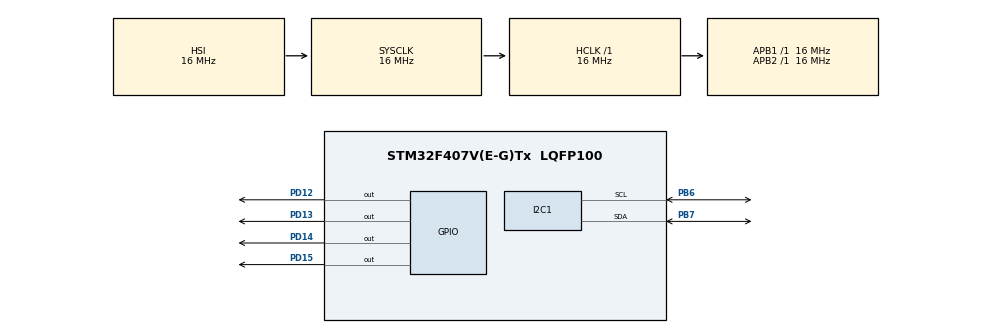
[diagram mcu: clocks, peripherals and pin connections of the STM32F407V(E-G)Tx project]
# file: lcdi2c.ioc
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Dma.I2C1_RX.0.Direction=DMA_PERIPH_TO_MEMORY
Dma.I2C1_RX.0.FIFOMode=DMA_FIFOMODE_DISABLE
Dma.I2C1_RX.0.Instance=DMA1_Stream0
Dma.I2C1_RX.0.MemDataAlignment=DMA_MDATAALIGN_BYTE
Dma.I2C1_RX.0.MemInc=DMA_MINC_ENABLE
Dma.I2C1_RX.0.Mode=DMA_NORMAL
Dma.I2C1_RX.0.PeriphDataAlignment=DMA_PDATAALIGN_BYTE
Dma.I2C1_RX.0.PeriphInc=DMA_PINC_DISABLE
Dma.I2C1_RX.0.Priority=DMA_PRIORITY_LOW
Dma.I2C1_TX.1.Direction=DMA_MEMORY_TO_PERIPH
Dma.I2C1_TX.1.FIFOMode=DMA_FIFOMODE_DISABLE
Dma.I2C1_TX.1.Instance=DMA1_Stream6
Dma.I2C1_TX.1.MemDataAlignment=DMA_MDATAALIGN_BYTE
Dma.I2C1_TX.1.MemInc=DMA_MINC_ENABLE
Dma.I2C1_TX.1.Mode=DMA_NORMAL
Dma.I2C1_TX.1.PeriphDataAlignment=DMA_PDATAALIGN_BYTE
Dma.I2C1_TX.1.PeriphInc=DMA_PINC_DISABLE
Dma.I2C1_TX.1.Priority=DMA_PRIORITY_LOW
Dma.Request0=I2C1_RX
Dma.Request1=I2C1_TX
FREERTOS.Tasks01=defaultTask,24,128,StartDefaultTask,Default,NULL,Dynamic,NULL,NULL
FREERTOS.configENABLE_FPU=1
Mcu.Family=STM32F4
Mcu.Name=STM32F407V(E-G)Tx
Mcu.Package=LQFP100
NVIC.DMA1_Stream0_IRQn=true\:5\:0\:false\:false\:true\:true\:false\:true
NVIC.DMA1_Stream6_IRQn=true\:5\:0\:false\:false\:true\:true\:false\:true
NVIC.I2C1_ER_IRQn=true\:5\:0\:false\:false\:true\:true\:true\:true
NVIC.I2C1_EV_IRQn=true\:5\:0\:false\:false\:true\:true\:true\:true
NVIC.PriorityGroup=NVIC_PRIORITYGROUP_4
NVIC.TIM5_IRQn=true\:0\:0\:false\:false\:true\:false\:false\:true
NVIC.TimeBase=TIM5_IRQn
NVIC.TimeBaseIP=TIM5
PA13.Mode=Serial_Wire
PA13.Signal=SYS_JTMS-SWDIO
PA14.Mode=Serial_Wire
PA14.Signal=SYS_JTCK-SWCLK
PB6.Mode=I2C
PB6.Signal=I2C1_SCL
PB7.Mode=I2C
PB7.Signal=I2C1_SDA
PD12.Signal=GPIO_Output
PD13.Signal=GPIO_Output
PD14.Signal=GPIO_Output
PD15.Signal=GPIO_Output
PH0-OSC_IN.Mode=HSE-External-Oscillator
PH0-OSC_IN.Signal=RCC_OSC_IN
PH1-OSC_OUT.Mode=HSE-External-Oscillator
PH1-OSC_OUT.Signal=RCC_OSC_OUT
ProjectManager.HeapSize=0x200
ProjectManager.StackSize=0x400
ProjectManager.TargetToolchain=Makefile
RCC.AHBFreq_Value=16000000
RCC.APB1Freq_Value=16000000
RCC.APB2Freq_Value=16000000
RCC.CortexFreq_Value=16000000
RCC.HSE_VALUE=25000000
RCC.HSI_VALUE=16000000
RCC.LSE_VALUE=32768
RCC.SYSCLKFreq_VALUE=16000000
RCC.VCOOutputFreq_Value=192000000
VP_FREERTOS_VS_CMSIS_V2.Mode=CMSIS_V2
VP_SYS_VS_tim5.Mode=TIM5
board=custom

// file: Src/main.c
/* USER CODE BEGIN Header */
/**
  ******************************************************************************
  * @file           : main.c
  * @brief          : Main program body
  ******************************************************************************
  * @attention
  *
  * <h2><center>&copy; Copyright (c) 2020 STMicroelectronics.
  * All rights reserved.</center></h2>
  *
  * This software component is licensed by ST under Ultimate Liberty license
  * SLA0044, the "License"; You may not use this file except in compliance with
  * the License. You may obtain a copy of the License at:
  *                             www.st.com/SLA0044
  *
  ******************************************************************************
  */
/* USER CODE END Header */

#include "main.h"
#include "cmsis_os.h"

/* USER CODE BEGIN Includes */
#include "LcdTask.h"
#include "lcd_hd44780_i2c.h"
#include "morse.h"
#include "DTW_counter.h"
/* USER CODE END Includes */

I2C_HandleTypeDef hi2c1;
DMA_HandleTypeDef hdma_i2c1_rx;
DMA_HandleTypeDef hdma_i2c1_tx;

/* Definitions for defaultTask */
osThreadId_t defaultTaskHandle;
const osThreadAttr_t defaultTask_attributes = {
  .name = "defaultTask",
  .priority = (osPriority_t) osPriorityNormal,
  .stack_size = 256 * 4
};
/* USER CODE BEGIN PV */
struct LCDI2C_UNIT* plcd4x20;
struct LCDI2C_UNIT* plcd4x16;
struct LCDI2C_UNIT* plcd2x16;
/* USER CODE END PV */

void SystemClock_Config(void);
static void MX_GPIO_Init(void);
static void MX_DMA_Init(void);
static void MX_I2C1_Init(void);
void StartDefaultTask(void *argument);

int main(void)
{

  /* MCU Configuration--------------------------------------------------------*/

  /* Reset of all peripherals, Initializes the Flash interface and the Systick. */
  HAL_Init();

  /* Configure the system clock */
  SystemClock_Config();

  /* USER CODE BEGIN SysInit */
  DTW_counter_init();

  /* USER CODE END SysInit */

  /* Initialize all configured peripherals */
  MX_GPIO_Init();
  MX_DMA_Init();
  MX_I2C1_Init();

  /* Init scheduler */
  osKernelInitialize();

  /* Create the thread(s) */
  /* creation of defaultTask */
  defaultTaskHandle = osThreadNew(StartDefaultTask, NULL, &defaultTask_attributes);

  /* USER CODE BEGIN RTOS_THREADS */

  /* LCD task */
  osThreadId osRet;
  // Arguments: (priority, queue (LcdTaskQHandle) size for control block ptrs)
//  osRet = xLcdTaskCreate(0, 32);
  if (osRet == NULL) morse_trap(119);
#ifdef DONOTDOTHIS

  /* Instantiate each LCD unit with I2C, address, row, column */
  plcd4x20 = xLcdTaskcreateunit(&hi2c1,0x27,4,20);
  if (plcd4x20 == NULL) morse_trap(227);

  plcd4x16 = xLcdTaskcreateunit(&hi2c1,0x26,4,16);
  if (plcd4x16 == NULL) morse_trap(226);

  plcd2x16 = xLcdTaskcreateunit(&hi2c1,0x25,2,16);
  if (plcd2x16 == NULL) morse_trap(225);
#endif

  /* USER CODE END RTOS_THREADS */
while(1==1);
  /* Start scheduler */
  osKernelStart();

  /* We should never get here as control is now taken by the scheduler */
  /* Infinite loop */
  while (1)
  {

  }
}

void SystemClock_Config(void)
{
  RCC_OscInitTypeDef RCC_OscInitStruct = {0};
  RCC_ClkInitTypeDef RCC_ClkInitStruct = {0};

  /** Configure the main internal regulator output voltage
  */
  __HAL_RCC_PWR_CLK_ENABLE();
  __HAL_PWR_VOLTAGESCALING_CONFIG(PWR_REGULATOR_VOLTAGE_SCALE1);
  /** Initializes the CPU, AHB and APB busses clocks
  */
  RCC_OscInitStruct.OscillatorType = RCC_OSCILLATORTYPE_HSI;
  RCC_OscInitStruct.HSIState = RCC_HSI_ON;
  RCC_OscInitStruct.HSICalibrationValue = RCC_HSICALIBRATION_DEFAULT;
  RCC_OscInitStruct.PLL.PLLState = RCC_PLL_NONE;
  if (HAL_RCC_OscConfig(&RCC_OscInitStruct) != HAL_OK)
  {
    Error_Handler();
  }
  /** Initializes the CPU, AHB and APB busses clocks
  */
  RCC_ClkInitStruct.ClockType = RCC_CLOCKTYPE_HCLK|RCC_CLOCKTYPE_SYSCLK
                              |RCC_CLOCKTYPE_PCLK1|RCC_CLOCKTYPE_PCLK2;
  RCC_ClkInitStruct.SYSCLKSource = RCC_SYSCLKSOURCE_HSI;
  RCC_ClkInitStruct.AHBCLKDivider = RCC_SYSCLK_DIV1;
  RCC_ClkInitStruct.APB1CLKDivider = RCC_HCLK_DIV1;
  RCC_ClkInitStruct.APB2CLKDivider = RCC_HCLK_DIV1;

  if (HAL_RCC_ClockConfig(&RCC_ClkInitStruct, FLASH_LATENCY_0) != HAL_OK)
  {
    Error_Handler();
  }
}

static void MX_I2C1_Init(void)
{

  hi2c1.Instance = I2C1;
  hi2c1.Init.ClockSpeed = 100000;
  hi2c1.Init.DutyCycle = I2C_DUTYCYCLE_2;
  hi2c1.Init.OwnAddress1 = 0;
  hi2c1.Init.AddressingMode = I2C_ADDRESSINGMODE_7BIT;
  hi2c1.Init.DualAddressMode = I2C_DUALADDRESS_DISABLE;
  hi2c1.Init.OwnAddress2 = 0;
  hi2c1.Init.GeneralCallMode = I2C_GENERALCALL_DISABLE;
  hi2c1.Init.NoStretchMode = I2C_NOSTRETCH_DISABLE;
  if (HAL_I2C_Init(&hi2c1) != HAL_OK)
  {
    Error_Handler();
  }

}

static void MX_DMA_Init(void)
{

  /* DMA controller clock enable */
  __HAL_RCC_DMA1_CLK_ENABLE();

  /* DMA interrupt init */
  /* DMA1_Stream0_IRQn interrupt configuration */
  HAL_NVIC_SetPriority(DMA1_Stream0_IRQn, 5, 0);
  HAL_NVIC_EnableIRQ(DMA1_Stream0_IRQn);
  /* DMA1_Stream6_IRQn interrupt configuration */
  HAL_NVIC_SetPriority(DMA1_Stream6_IRQn, 5, 0);
  HAL_NVIC_EnableIRQ(DMA1_Stream6_IRQn);

}

static void MX_GPIO_Init(void)
{
  GPIO_InitTypeDef GPIO_InitStruct = {0};

  /* GPIO Ports Clock Enable */
  __HAL_RCC_GPIOH_CLK_ENABLE();
  __HAL_RCC_GPIOD_CLK_ENABLE();
  __HAL_RCC_GPIOA_CLK_ENABLE();
  __HAL_RCC_GPIOB_CLK_ENABLE();

  /*Configure GPIO pin Output Level */
  HAL_GPIO_WritePin(GPIOD, GPIO_PIN_12|GPIO_PIN_13|GPIO_PIN_14|GPIO_PIN_15, GPIO_PIN_RESET);

  /*Configure GPIO pins : PD12 PD13 PD14 PD15 */
  GPIO_InitStruct.Pin = GPIO_PIN_12|GPIO_PIN_13|GPIO_PIN_14|GPIO_PIN_15;
  GPIO_InitStruct.Mode = GPIO_MODE_OUTPUT_PP;
  GPIO_InitStruct.Pull = GPIO_NOPULL;
  GPIO_InitStruct.Speed = GPIO_SPEED_FREQ_LOW;
  HAL_GPIO_Init(GPIOD, &GPIO_InitStruct);

}

void StartDefaultTask(void *argument)
{
  /* USER CODE BEGIN 5 */
while(1==1) osDelay(10);

  /* Get two line buffers 'a' and 'b' for 4x20 LCD. */
  struct LCDTASK_LINEBUF* pbuf4x20a = xLcdTaskintgetbuf(plcd4x20);
  struct LCDTASK_LINEBUF* pbuf4x20b = xLcdTaskintgetbuf(plcd4x20);
  struct LCDTASK_LINEBUF* pbuf4x20c = xLcdTaskintgetbuf(plcd4x20);
  struct LCDTASK_LINEBUF* pbuf4x20d = xLcdTaskintgetbuf(plcd4x20);
  if (pbuf4x20a == NULL) morse_trap(240);
  if (pbuf4x20b == NULL) morse_trap(241);
  if (pbuf4x20c == NULL) morse_trap(242);
  if (pbuf4x20d == NULL) morse_trap(243);

    // Set cursor and print at zero position of line 1
    lcdi2cputs(&pbuf4x20a,0,0,"1 Hello,");

    // Set cursor and print at zero position of line 2
    lcdi2cputs(&pbuf4x20b,0,1,"2 This is a test!");

    // Set cursor and print at zero position of line 3
    lcdi2cputs(&pbuf4x20c,0,2,"3 lcdic2X2 ");

    // Set cursor and print at zero position of line 3
    lcdi2cputs(&pbuf4x20d,0,3,"4 abcdefghijklmnopqr");

    for (;;) {
		HAL_GPIO_TogglePin(GPIOD,GPIO_PIN_15); // BLUE LED
      vTaskDelay(512);

    }
  /* USER CODE END 5 */
}

 /**
  * @brief  Period elapsed callback in non blocking mode
  * @note   This function is called  when TIM5 interrupt took place, inside
  * HAL_TIM_IRQHandler(). It makes a direct call to HAL_IncTick() to increment
  * a global variable "uwTick" used as application time base.
  * @param  htim : TIM handle
  * @retval None
  */
void HAL_TIM_PeriodElapsedCallback(TIM_HandleTypeDef *htim)
{
  if (htim->Instance == TIM5) {
    HAL_IncTick();
  }
}

void Error_Handler(void)
{
}

/************************ (C) COPYRIGHT STMicroelectronics *****END OF FILE****/
